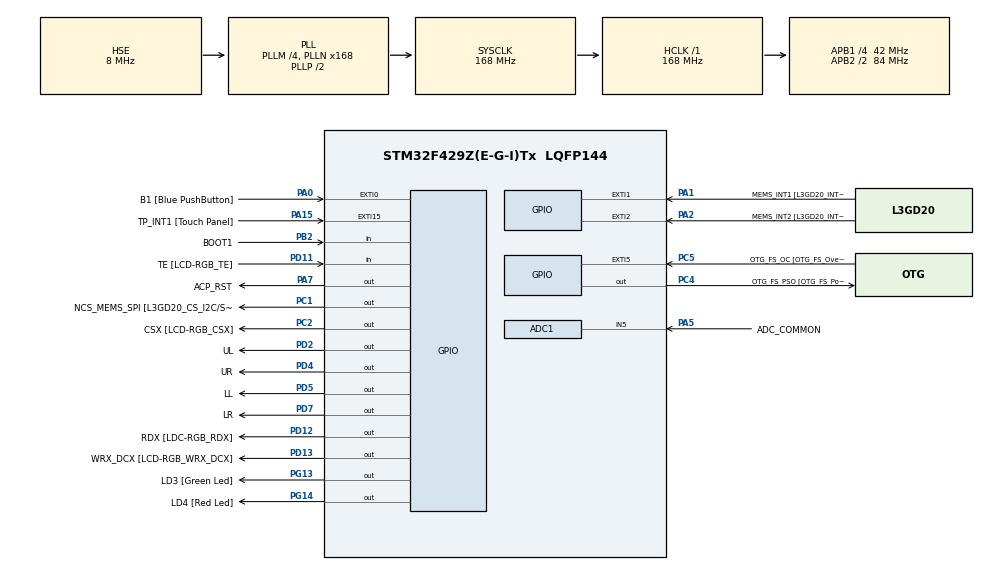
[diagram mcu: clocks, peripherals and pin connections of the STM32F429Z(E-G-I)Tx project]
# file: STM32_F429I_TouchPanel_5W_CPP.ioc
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ADC1.Channel-0\#ChannelRegularConversion=ADC_CHANNEL_5
ADC1.ClockPrescaler=ADC_CLOCK_SYNC_PCLK_DIV8
ADC1.NbrOfConversionFlag=1
ADC1.Rank-0\#ChannelRegularConversion=1
ADC1.SamplingTime-0\#ChannelRegularConversion=ADC_SAMPLETIME_480CYCLES
ADC1.master=1
FREERTOS.BinarySemaphores01=adcSemaphore,Dynamic,NULL
FREERTOS.INCLUDE_xTaskGetCurrentTaskHandle=1
FREERTOS.INCLUDE_xTaskGetHandle=1
FREERTOS.Tasks01=defaultTask,0,128,StartDefaultTask,Default,NULL,Dynamic,NULL,NULL;touchPanelTask,1,128,touchPanelTaskFnc,Default,NULL,Dynamic,NULL,NULL
FREERTOS.configUSE_COUNTING_SEMAPHORES=0
FREERTOS.configUSE_IDLE_HOOK=1
FREERTOS.configUSE_MUTEXES=1
FREERTOS.configUSE_RECURSIVE_MUTEXES=0
FREERTOS.configUSE_TICK_HOOK=1
FREERTOS.configUSE_TIMERS=1
Mcu.Family=STM32F4
Mcu.Name=STM32F429Z(E-G-I)Tx
Mcu.Package=LQFP144
NVIC.ADC_IRQn=true\:7\:0\:true\:false\:true\:true
NVIC.PriorityGroup=NVIC_PRIORITYGROUP_4
NVIC.TIM7_IRQn=true\:0\:0\:false\:false\:true\:false
NVIC.TimeBase=TIM7_IRQn
NVIC.TimeBaseIP=TIM7
PA0/WKUP.GPIO_Label=B1 [Blue PushButton]
PA0/WKUP.GPIO_ModeDefaultEXTI=GPIO_MODE_EVT_RISING
PA0/WKUP.GPIO_PuPd=GPIO_NOPULL
PA0/WKUP.Signal=GPXTI0
PA1.GPIO_Label=MEMS_INT1 [L3GD20_INT1]
PA1.GPIO_ModeDefaultEXTI=GPIO_MODE_EVT_RISING
PA1.GPIO_PuPd=GPIO_NOPULL
PA1.Signal=GPXTI1
PA11.GPIO_Label=R4
PA11.GPIO_Mode=GPIO_MODE_AF_PP
PA11.GPIO_PuPd=GPIO_NOPULL
PA11.GPIO_Speed=GPIO_SPEED_FREQ_LOW
PA11.Signal=LTDC_R4
PA12.GPIO_Label=R5
PA12.GPIO_Mode=GPIO_MODE_AF_PP
PA12.GPIO_PuPd=GPIO_NOPULL
PA12.GPIO_Speed=GPIO_SPEED_FREQ_LOW
PA12.Signal=LTDC_R5
PA13.GPIO_Label=SWDIO
PA13.Signal=SYS_JTMS-SWDIO
PA14.GPIO_Label=SWCLK
PA14.Signal=SYS_JTCK-SWCLK
PA15.GPIO_Label=TP_INT1 [Touch Panel]
PA15.GPIO_ModeDefaultEXTI=GPIO_MODE_EVT_RISING
PA15.GPIO_PuPd=GPIO_NOPULL
PA15.Signal=GPXTI15
PA2.GPIO_Label=MEMS_INT2 [L3GD20_INT2]
PA2.GPIO_ModeDefaultEXTI=GPIO_MODE_EVT_RISING
PA2.GPIO_PuPd=GPIO_NOPULL
PA2.Signal=GPXTI2
PA3.GPIO_Label=B5
PA3.GPIO_Mode=GPIO_MODE_AF_PP
PA3.GPIO_PuPd=GPIO_NOPULL
PA3.GPIO_Speed=GPIO_SPEED_FREQ_LOW
PA3.Signal=LTDC_B5
PA4.GPIO_Label=VSYNC
PA4.GPIO_Mode=GPIO_MODE_AF_PP
PA4.GPIO_PuPd=GPIO_NOPULL
PA4.GPIO_Speed=GPIO_SPEED_FREQ_LOW
PA4.Signal=LTDC_VSYNC
PA5.GPIO_Label=ADC_COMMON
PA5.Signal=ADCx_IN5
PA6.GPIO_Label=G2
PA6.GPIO_Mode=GPIO_MODE_AF_PP
PA6.GPIO_PuPd=GPIO_NOPULL
PA6.GPIO_Speed=GPIO_SPEED_FREQ_LOW
PA6.Signal=LTDC_G2
PA7.GPIO_Label=ACP_RST
PA7.GPIO_Mode=GPIO_MODE_OUTPUT_PP
PA7.GPIO_PuPd=GPIO_NOPULL
PA7.GPIO_Speed=GPIO_SPEED_FREQ_LOW
PA7.Signal=GPIO_Output
PA8.GPIO_Label=I2C3_SCL [ACP/RF_SCL]
PA8.GPIO_Mode=GPIO_MODE_AF_OD
PA8.GPIO_PuPd=GPIO_NOPULL
PA8.GPIO_Speed=GPIO_SPEED_FREQ_LOW
PA8.Signal=I2C3_SCL
PB0.GPIO_Label=R3
PB0.GPIO_Mode=GPIO_MODE_AF_PP
PB0.GPIO_PuPd=GPIO_NOPULL
PB0.GPIO_Speed=GPIO_SPEED_FREQ_LOW
PB0.Signal=LTDC_R3
PB1.GPIO_Label=R6
PB1.GPIO_Mode=GPIO_MODE_AF_PP
PB1.GPIO_PuPd=GPIO_NOPULL
PB1.GPIO_Speed=GPIO_SPEED_FREQ_LOW
PB1.Signal=LTDC_R6
PB10.GPIO_Label=G4
PB10.GPIO_Mode=GPIO_MODE_AF_PP
PB10.GPIO_PuPd=GPIO_NOPULL
PB10.GPIO_Speed=GPIO_SPEED_FREQ_LOW
PB10.Signal=LTDC_G4
PB11.GPIO_Label=G5
PB11.GPIO_Mode=GPIO_MODE_AF_PP
PB11.GPIO_PuPd=GPIO_NOPULL
PB11.GPIO_Speed=GPIO_SPEED_FREQ_LOW
PB11.Signal=LTDC_G5
PB12.GPIO_Label=OTG_FS_ID
PB12.GPIO_Mode=GPIO_MODE_AF_PP
PB12.GPIO_PuPd=GPIO_NOPULL
PB12.GPIO_Speed=GPIO_SPEED_FREQ_LOW
PB12.Signal=USB_OTG_HS_ID
PB13.GPIO_Label=VBUS_FS
PB13.GPIO_Mode=GPIO_MODE_INPUT
PB13.GPIO_PuPd=GPIO_NOPULL
PB13.Signal=USB_OTG_HS_VBUS
PB14.GPIO_Label=OTG_FS_DM
PB14.GPIO_Mode=GPIO_MODE_AF_PP
PB14.GPIO_PuPd=GPIO_NOPULL
PB14.GPIO_Speed=GPIO_SPEED_FREQ_LOW
PB14.Signal=USB_OTG_HS_DM
PB15.GPIO_Label=OTG_FS_DP
PB15.GPIO_Mode=GPIO_MODE_AF_PP
PB15.GPIO_PuPd=GPIO_NOPULL
PB15.GPIO_Speed=GPIO_SPEED_FREQ_LOW
PB15.Signal=USB_OTG_HS_DP
PB2/BOOT1.GPIO_Label=BOOT1
PB2/BOOT1.GPIO_Mode=GPIO_MODE_INPUT
PB2/BOOT1.GPIO_PuPd=GPIO_NOPULL
PB2/BOOT1.Signal=GPIO_Input
PB5.GPIO_Label=SDCKE1
PB5.GPIO_Mode=GPIO_MODE_AF_PP
PB5.GPIO_PuPd=GPIO_NOPULL
PB5.GPIO_Speed=GPIO_SPEED_FREQ_VERY_HIGH
PB5.Signal=FMC_SDCKE1
PB6.GPIO_Label=SDNE1 [SDRAM_CS]
PB6.GPIO_Mode=GPIO_MODE_AF_PP
PB6.GPIO_PuPd=GPIO_NOPULL
PB6.GPIO_Speed=GPIO_SPEED_FREQ_VERY_HIGH
PB6.Signal=FMC_SDNE1
PB8.GPIO_Label=B6
PB8.GPIO_Mode=GPIO_MODE_AF_PP
PB8.GPIO_PuPd=GPIO_NOPULL
PB8.GPIO_Speed=GPIO_SPEED_FREQ_LOW
PB8.Signal=LTDC_B6
PB9.GPIO_Label=B7
PB9.GPIO_Mode=GPIO_MODE_AF_PP
PB9.GPIO_PuPd=GPIO_NOPULL
PB9.GPIO_Speed=GPIO_SPEED_FREQ_LOW
PB9.Signal=LTDC_B7
PC0.GPIO_Label=SDNWE
PC0.GPIO_Mode=GPIO_MODE_AF_PP
PC0.GPIO_PuPd=GPIO_NOPULL
PC0.GPIO_Speed=GPIO_SPEED_FREQ_VERY_HIGH
PC0.Signal=FMC_SDNWE
PC1.GPIO_Label=NCS_MEMS_SPI [L3GD20_CS_I2C/SPI]
PC1.GPIO_Mode=GPIO_MODE_OUTPUT_PP
PC1.GPIO_PuPd=GPIO_NOPULL
PC1.GPIO_Speed=GPIO_SPEED_FREQ_LOW
PC1.Signal=GPIO_Output
PC10.GPIO_Label=R2
PC10.GPIO_Mode=GPIO_MODE_AF_PP
PC10.GPIO_PuPd=GPIO_NOPULL
PC10.GPIO_Speed=GPIO_SPEED_FREQ_LOW
PC10.Signal=LTDC_R2
PC14/OSC32_IN.GPIO_Label=PC14-OSC32_IN
PC14/OSC32_IN.Signal=RCC_OSC32_IN
PC15/OSC32_OUT.GPIO_Label=PC15-OSC32_OUT
PC15/OSC32_OUT.Signal=RCC_OSC32_OUT
PC2.GPIO_Label=CSX [LCD-RGB_CSX]
PC2.GPIO_Mode=GPIO_MODE_OUTPUT_PP
PC2.GPIO_PuPd=GPIO_NOPULL
PC2.GPIO_Speed=GPIO_SPEED_FREQ_LOW
PC2.Signal=GPIO_Output
PC4.GPIO_Label=OTG_FS_PSO [OTG_FS_PowerSwitchOn]
PC4.GPIO_Mode=GPIO_MODE_OUTPUT_PP
PC4.GPIO_PuPd=GPIO_NOPULL
PC4.GPIO_Speed=GPIO_SPEED_FREQ_LOW
PC4.Signal=GPIO_Output
PC5.GPIO_Label=OTG_FS_OC [OTG_FS_OverCurrent]
PC5.GPIO_ModeDefaultEXTI=GPIO_MODE_EVT_RISING
PC5.Signal=GPXTI5
PC6.GPIO_Label=HSYNC
PC6.GPIO_Mode=GPIO_MODE_AF_PP
PC6.GPIO_PuPd=GPIO_NOPULL
PC6.GPIO_Speed=GPIO_SPEED_FREQ_LOW
PC6.Signal=LTDC_HSYNC
PC7.GPIO_Label=G6
PC7.GPIO_Mode=GPIO_MODE_AF_PP
PC7.GPIO_PuPd=GPIO_NOPULL
PC7.GPIO_Speed=GPIO_SPEED_FREQ_LOW
PC7.Signal=LTDC_G6
PC9.GPIO_Label=I2C3_SDA [ACP/RF_SDA]
PC9.GPIO_Mode=GPIO_MODE_AF_OD
PC9.GPIO_PuPd=GPIO_NOPULL
PC9.GPIO_Speed=GPIO_SPEED_FREQ_LOW
PC9.Signal=I2C3_SDA
PD0.GPIO_Label=D2
PD0.GPIO_Mode=GPIO_MODE_AF_PP
PD0.GPIO_PuPd=GPIO_NOPULL
PD0.GPIO_Speed=GPIO_SPEED_FREQ_VERY_HIGH
PD0.Signal=FMC_D2_DA2
PD1.GPIO_Label=D3
PD1.GPIO_Mode=GPIO_MODE_AF_PP
PD1.GPIO_PuPd=GPIO_NOPULL
PD1.GPIO_Speed=GPIO_SPEED_FREQ_VERY_HIGH
PD1.Signal=FMC_D3_DA3
PD10.GPIO_Label=D15
PD10.GPIO_Mode=GPIO_MODE_AF_PP
PD10.GPIO_PuPd=GPIO_NOPULL
PD10.GPIO_Speed=GPIO_SPEED_FREQ_VERY_HIGH
PD10.Signal=FMC_D15_DA15
PD11.GPIO_Label=TE [LCD-RGB_TE]
PD11.GPIO_Mode=GPIO_MODE_INPUT
PD11.GPIO_PuPd=GPIO_NOPULL
PD11.Signal=GPIO_Input
PD12.GPIO_Label=RDX [LDC-RGB_RDX]
PD12.GPIO_Mode=GPIO_MODE_OUTPUT_PP
PD12.GPIO_PuPd=GPIO_NOPULL
PD12.GPIO_Speed=GPIO_SPEED_FREQ_LOW
PD12.Signal=GPIO_Output
PD13.GPIO_Label=WRX_DCX [LCD-RGB_WRX_DCX]
PD13.GPIO_Mode=GPIO_MODE_OUTPUT_PP
PD13.GPIO_PuPd=GPIO_NOPULL
PD13.GPIO_Speed=GPIO_SPEED_FREQ_LOW
PD13.Signal=GPIO_Output
PD14.GPIO_Label=D0
PD14.GPIO_Mode=GPIO_MODE_AF_PP
PD14.GPIO_PuPd=GPIO_NOPULL
PD14.GPIO_Speed=GPIO_SPEED_FREQ_VERY_HIGH
PD14.Signal=FMC_D0_DA0
PD15.GPIO_Label=D1
PD15.GPIO_Mode=GPIO_MODE_AF_PP
PD15.GPIO_PuPd=GPIO_NOPULL
PD15.GPIO_Speed=GPIO_SPEED_FREQ_VERY_HIGH
PD15.Signal=FMC_D1_DA1
PD2.GPIO_Label=UL
PD2.GPIO_Speed=GPIO_SPEED_FREQ_VERY_HIGH
PD2.Signal=GPIO_Output
PD3.GPIO_Label=G7
PD3.GPIO_Mode=GPIO_MODE_AF_PP
PD3.GPIO_PuPd=GPIO_NOPULL
PD3.GPIO_Speed=GPIO_SPEED_FREQ_LOW
PD3.Signal=LTDC_G7
PD4.GPIO_Label=UR
PD4.GPIO_Speed=GPIO_SPEED_FREQ_VERY_HIGH
PD4.Signal=GPIO_Output
PD5.GPIO_Label=LL
PD5.GPIO_Speed=GPIO_SPEED_FREQ_VERY_HIGH
PD5.Signal=GPIO_Output
PD6.GPIO_Label=B2
PD6.GPIO_Mode=GPIO_MODE_AF_PP
PD6.GPIO_PuPd=GPIO_NOPULL
PD6.GPIO_Speed=GPIO_SPEED_FREQ_LOW
PD6.Signal=LTDC_B2
PD7.GPIO_Label=LR
PD7.GPIO_Speed=GPIO_SPEED_FREQ_VERY_HIGH
PD7.Signal=GPIO_Output
PD8.GPIO_Label=D13
PD8.GPIO_Mode=GPIO_MODE_AF_PP
PD8.GPIO_PuPd=GPIO_NOPULL
PD8.GPIO_Speed=GPIO_SPEED_FREQ_VERY_HIGH
PD8.Signal=FMC_D13_DA13
PD9.GPIO_Label=D14
PD9.GPIO_Mode=GPIO_MODE_AF_PP
PD9.GPIO_PuPd=GPIO_NOPULL
PD9.GPIO_Speed=GPIO_SPEED_FREQ_VERY_HIGH
PD9.Signal=FMC_D14_DA14
PE0.GPIO_Label=NBL0 [SDRAM_LDQM]
PE0.GPIO_Mode=GPIO_MODE_AF_PP
PE0.GPIO_PuPd=GPIO_NOPULL
PE0.GPIO_Speed=GPIO_SPEED_FREQ_VERY_HIGH
PE0.Signal=FMC_NBL0
PE1.GPIO_Label=NBL1 [SDRAM_UDQM]
PE1.GPIO_Mode=GPIO_MODE_AF_PP
PE1.GPIO_PuPd=GPIO_NOPULL
PE1.GPIO_Speed=GPIO_SPEED_FREQ_VERY_HIGH
PE1.Signal=FMC_NBL1
PE10.GPIO_Label=D7
PE10.GPIO_Mode=GPIO_MODE_AF_PP
PE10.GPIO_PuPd=GPIO_NOPULL
PE10.GPIO_Speed=GPIO_SPEED_FREQ_VERY_HIGH
PE10.Signal=FMC_D7_DA7
PE11.GPIO_Label=D8
PE11.GPIO_Mode=GPIO_MODE_AF_PP
PE11.GPIO_PuPd=GPIO_NOPULL
PE11.GPIO_Speed=GPIO_SPEED_FREQ_VERY_HIGH
PE11.Signal=FMC_D8_DA8
PE12.GPIO_Label=D9
PE12.GPIO_Mode=GPIO_MODE_AF_PP
PE12.GPIO_PuPd=GPIO_NOPULL
PE12.GPIO_Speed=GPIO_SPEED_FREQ_VERY_HIGH
PE12.Signal=FMC_D9_DA9
PE13.GPIO_Label=D10
PE13.GPIO_Mode=GPIO_MODE_AF_PP
PE13.GPIO_PuPd=GPIO_NOPULL
PE13.GPIO_Speed=GPIO_SPEED_FREQ_VERY_HIGH
PE13.Signal=FMC_D10_DA10
PE14.GPIO_Label=D11
PE14.GPIO_Mode=GPIO_MODE_AF_PP
PE14.GPIO_PuPd=GPIO_NOPULL
PE14.GPIO_Speed=GPIO_SPEED_FREQ_VERY_HIGH
PE14.Signal=FMC_D11_DA11
PE15.GPIO_Label=D12
PE15.GPIO_Mode=GPIO_MODE_AF_PP
PE15.GPIO_PuPd=GPIO_NOPULL
PE15.GPIO_Speed=GPIO_SPEED_FREQ_VERY_HIGH
PE15.Signal=FMC_D12_DA12
PE7.GPIO_Label=D4
PE7.GPIO_Mode=GPIO_MODE_AF_PP
PE7.GPIO_PuPd=GPIO_NOPULL
PE7.GPIO_Speed=GPIO_SPEED_FREQ_VERY_HIGH
PE7.Signal=FMC_D4_DA4
PE8.GPIO_Label=D5
PE8.GPIO_Mode=GPIO_MODE_AF_PP
PE8.GPIO_PuPd=GPIO_NOPULL
PE8.GPIO_Speed=GPIO_SPEED_FREQ_VERY_HIGH
PE8.Signal=FMC_D5_DA5
PE9.GPIO_Label=D6
PE9.GPIO_Mode=GPIO_MODE_AF_PP
PE9.GPIO_PuPd=GPIO_NOPULL
PE9.GPIO_Speed=GPIO_SPEED_FREQ_VERY_HIGH
PE9.Signal=FMC_D6_DA6
PF0.GPIO_Label=A0
PF0.GPIO_Mode=GPIO_MODE_AF_PP
PF0.GPIO_PuPd=GPIO_NOPULL
PF0.GPIO_Speed=GPIO_SPEED_FREQ_VERY_HIGH
PF0.Signal=FMC_A0
PF1.GPIO_Label=A1
PF1.GPIO_Mode=GPIO_MODE_AF_PP
PF1.GPIO_PuPd=GPIO_NOPULL
PF1.GPIO_Speed=GPIO_SPEED_FREQ_VERY_HIGH
PF1.Signal=FMC_A1
PF10.GPIO_Label=ENABLE [LCD-RGB_ENABLE]
PF10.GPIO_Mode=GPIO_MODE_AF_PP
PF10.GPIO_PuPd=GPIO_NOPULL
PF10.GPIO_Speed=GPIO_SPEED_FREQ_LOW
PF10.Signal=LTDC_DE
PF11.GPIO_Label=SDNRAS
PF11.GPIO_Mode=GPIO_MODE_AF_PP
PF11.GPIO_PuPd=GPIO_NOPULL
PF11.GPIO_Speed=GPIO_SPEED_FREQ_VERY_HIGH
PF11.Signal=FMC_SDNRAS
PF12.GPIO_Label=A6
PF12.GPIO_Mode=GPIO_MODE_AF_PP
PF12.GPIO_PuPd=GPIO_NOPULL
PF12.GPIO_Speed=GPIO_SPEED_FREQ_VERY_HIGH
PF12.Signal=FMC_A6
PF13.GPIO_Label=A7
PF13.GPIO_Mode=GPIO_MODE_AF_PP
PF13.GPIO_PuPd=GPIO_NOPULL
PF13.GPIO_Speed=GPIO_SPEED_FREQ_VERY_HIGH
PF13.Signal=FMC_A7
PF14.GPIO_Label=A8
PF14.GPIO_Mode=GPIO_MODE_AF_PP
PF14.GPIO_PuPd=GPIO_NOPULL
PF14.GPIO_Speed=GPIO_SPEED_FREQ_VERY_HIGH
PF14.Signal=FMC_A8
PF15.GPIO_Label=A9
PF15.GPIO_Mode=GPIO_MODE_AF_PP
PF15.GPIO_PuPd=GPIO_NOPULL
PF15.GPIO_Speed=GPIO_SPEED_FREQ_VERY_HIGH
PF15.Signal=FMC_A9
PF2.GPIO_Label=A2
PF2.GPIO_Mode=GPIO_MODE_AF_PP
PF2.GPIO_PuPd=GPIO_NOPULL
PF2.GPIO_Speed=GPIO_SPEED_FREQ_VERY_HIGH
PF2.Signal=FMC_A2
PF3.GPIO_Label=A3
PF3.GPIO_Mode=GPIO_MODE_AF_PP
PF3.GPIO_PuPd=GPIO_NOPULL
PF3.GPIO_Speed=GPIO_SPEED_FREQ_VERY_HIGH
PF3.Signal=FMC_A3
PF4.GPIO_Label=A4
PF4.GPIO_Mode=GPIO_MODE_AF_PP
PF4.GPIO_PuPd=GPIO_NOPULL
PF4.GPIO_Speed=GPIO_SPEED_FREQ_VERY_HIGH
PF4.Signal=FMC_A4
PF5.GPIO_Label=A5
PF5.GPIO_Mode=GPIO_MODE_AF_PP
PF5.GPIO_PuPd=GPIO_NOPULL
PF5.GPIO_Speed=GPIO_SPEED_FREQ_VERY_HIGH
PF5.Signal=FMC_A5
PF7.GPIO_Label=SPI5_SCK [L3GD20_SCL/SPC]
PF7.GPIO_Mode=GPIO_MODE_AF_PP
PF7.GPIO_PuPd=GPIO_NOPULL
PF7.GPIO_Speed=GPIO_SPEED_FREQ_LOW
PF7.Signal=SPI5_SCK
PF8.GPIO_Label=SPI5_MISO [L3GD20_SDO]
PF8.GPIO_Mode=GPIO_MODE_AF_PP
PF8.GPIO_PuPd=GPIO_NOPULL
PF8.GPIO_Speed=GPIO_SPEED_FREQ_LOW
PF8.Signal=SPI5_MISO
PF9.GPIO_Label=SPI5_MOSI [L3GD20_SDA/SDI/SDO]
PF9.GPIO_Mode=GPIO_MODE_AF_PP
PF9.GPIO_PuPd=GPIO_NOPULL
PF9.GPIO_Speed=GPIO_SPEED_FREQ_LOW
PF9.Signal=SPI5_MOSI
PG0.GPIO_Label=A10
PG0.GPIO_Mode=GPIO_MODE_AF_PP
PG0.GPIO_PuPd=GPIO_NOPULL
PG0.GPIO_Speed=GPIO_SPEED_FREQ_VERY_HIGH
PG0.Signal=FMC_A10
PG1.GPIO_Label=A11
PG1.GPIO_Mode=GPIO_MODE_AF_PP
PG1.GPIO_PuPd=GPIO_NOPULL
PG1.GPIO_Speed=GPIO_SPEED_FREQ_VERY_HIGH
PG1.Signal=FMC_A11
PG10.GPIO_Label=G3
PG10.GPIO_Mode=GPIO_MODE_AF_PP
PG10.GPIO_PuPd=GPIO_NOPULL
PG10.GPIO_Speed=GPIO_SPEED_FREQ_LOW
PG10.Signal=LTDC_G3
PG11.GPIO_Label=B3
PG11.GPIO_Mode=GPIO_MODE_AF_PP
PG11.GPIO_PuPd=GPIO_NOPULL
PG11.GPIO_Speed=GPIO_SPEED_FREQ_LOW
PG11.Signal=LTDC_B3
PG12.GPIO_Label=B4
PG12.GPIO_Mode=GPIO_MODE_AF_PP
PG12.GPIO_PuPd=GPIO_NOPULL
PG12.GPIO_Speed=GPIO_SPEED_FREQ_LOW
PG12.Signal=LTDC_B4
PG13.GPIO_Label=LD3 [Green Led]
PG13.GPIO_Mode=GPIO_MODE_OUTPUT_PP
PG13.GPIO_PuPd=GPIO_NOPULL
PG13.GPIO_Speed=GPIO_SPEED_FREQ_LOW
PG13.Signal=GPIO_Output
PG14.GPIO_Label=LD4 [Red Led]
PG14.GPIO_Mode=GPIO_MODE_OUTPUT_PP
PG14.GPIO_PuPd=GPIO_NOPULL
PG14.GPIO_Speed=GPIO_SPEED_FREQ_LOW
PG14.Signal=GPIO_Output
PG15.GPIO_Label=SDNCAS
PG15.GPIO_Mode=GPIO_MODE_AF_PP
PG15.GPIO_PuPd=GPIO_NOPULL
PG15.GPIO_Speed=GPIO_SPEED_FREQ_VERY_HIGH
PG15.Signal=FMC_SDNCAS
PG4.GPIO_Label=BA0
PG4.GPIO_Mode=GPIO_MODE_AF_PP
PG4.GPIO_PuPd=GPIO_NOPULL
PG4.GPIO_Speed=GPIO_SPEED_FREQ_VERY_HIGH
PG4.Signal=FMC_A14_BA0
PG5.GPIO_Label=BA1
PG5.GPIO_Mode=GPIO_MODE_AF_PP
PG5.GPIO_PuPd=GPIO_NOPULL
PG5.GPIO_Speed=GPIO_SPEED_FREQ_VERY_HIGH
PG5.Signal=FMC_A15_BA1
PG6.GPIO_Label=R7
PG6.GPIO_Mode=GPIO_MODE_AF_PP
PG6.GPIO_PuPd=GPIO_NOPULL
PG6.GPIO_Speed=GPIO_SPEED_FREQ_LOW
PG6.Signal=LTDC_R7
PG7.GPIO_Label=DOTCLK [LCT-RGB_DOTCLK]
PG7.GPIO_Mode=GPIO_MODE_AF_PP
PG7.GPIO_PuPd=GPIO_NOPULL
PG7.GPIO_Speed=GPIO_SPEED_FREQ_LOW
PG7.Signal=LTDC_CLK
PG8.GPIO_Label=SDCLK
PG8.GPIO_Mode=GPIO_MODE_AF_PP
PG8.GPIO_PuPd=GPIO_NOPULL
PG8.GPIO_Speed=GPIO_SPEED_FREQ_VERY_HIGH
PG8.Signal=FMC_SDCLK
PH0/OSC_IN.GPIO_Label=PH0-OSC_IN
PH0/OSC_IN.Mode=HSE-External-Oscillator
PH0/OSC_IN.Signal=RCC_OSC_IN
PH1/OSC_OUT.GPIO_Label=PH1-OSC_OUT
PH1/OSC_OUT.Mode=HSE-External-Oscillator
PH1/OSC_OUT.Signal=RCC_OSC_OUT
ProjectManager.HeapSize=0x200
ProjectManager.StackSize=0x400
ProjectManager.TargetToolchain=SW4STM32
RCC.48MHZClocksFreq_Value=48000000
RCC.AHBFreq_Value=168000000
RCC.APB1CLKDivider=RCC_HCLK_DIV4
RCC.APB1Freq_Value=42000000
RCC.APB1TimFreq_Value=84000000
RCC.APB2CLKDivider=RCC_HCLK_DIV2
RCC.APB2Freq_Value=84000000
RCC.APB2TimFreq_Value=168000000
RCC.CortexFreq_Value=168000000
RCC.HCLKFreq_Value=168000000
RCC.HSE_VALUE=8000000
RCC.HSI_VALUE=16000000
RCC.LSE_VALUE=32768
RCC.PLLM=4
RCC.PLLN=168
RCC.PLLQ=7
RCC.PLLSourceVirtual=RCC_PLLSOURCE_HSE
RCC.SYSCLKFreq_VALUE=168000000
RCC.SYSCLKSource=RCC_SYSCLKSOURCE_PLLCLK
RCC.VCOOutputFreq_Value=336000000
SH.ADCx_IN5.0=ADC1_IN5,IN5
SH.FMC_A0.0=FMC_A0
SH.FMC_A1.0=FMC_A1
SH.FMC_A10.0=FMC_A10
SH.FMC_A11.0=FMC_A11
SH.FMC_A14_BA0.0=FMC_BA0
SH.FMC_A15_BA1.0=FMC_BA1
SH.FMC_A2.0=FMC_A2
SH.FMC_A3.0=FMC_A3
SH.FMC_A4.0=FMC_A4
SH.FMC_A5.0=FMC_A5
SH.FMC_A6.0=FMC_A6
SH.FMC_A7.0=FMC_A7
SH.FMC_A8.0=FMC_A8
SH.FMC_A9.0=FMC_A9
SH.FMC_D0_DA0.0=FMC_D0
SH.FMC_D10_DA10.0=FMC_D10
SH.FMC_D11_DA11.0=FMC_D11
SH.FMC_D12_DA12.0=FMC_D12
SH.FMC_D13_DA13.0=FMC_D13
SH.FMC_D14_DA14.0=FMC_D14
SH.FMC_D15_DA15.0=FMC_D15
SH.FMC_D1_DA1.0=FMC_D1
SH.FMC_D2_DA2.0=FMC_D2
SH.FMC_D3_DA3.0=FMC_D3
SH.FMC_D4_DA4.0=FMC_D4
SH.FMC_D5_DA5.0=FMC_D5
SH.FMC_D6_DA6.0=FMC_D6
SH.FMC_D7_DA7.0=FMC_D7
SH.FMC_D8_DA8.0=FMC_D8
SH.FMC_D9_DA9.0=FMC_D9
SH.FMC_NBL0.0=FMC_NBL0
SH.FMC_NBL1.0=FMC_NBL1
SH.FMC_SDCLK.0=FMC_SDCLK
SH.FMC_SDNCAS.0=FMC_SDNCAS
SH.FMC_SDNRAS.0=FMC_SDNRAS
SH.FMC_SDNWE.0=FMC_SDNWE
VP_FREERTOS_VS_ENABLE.Mode=Enabled
VP_SYS_VS_tim7.Mode=TIM7
board=STM32F429I-DISCO

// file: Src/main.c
/**
  ******************************************************************************
  * File Name          : main.c
  * Description        : Main program body
  ******************************************************************************
  * This notice applies to any and all portions of this file
  * that are not between comment pairs USER CODE BEGIN and
  * USER CODE END. Other portions of this file, whether
  * inserted by the user or by software development tools
  * are owned by their respective copyright owners.
  *
  * Copyright (c) 2017 STMicroelectronics International N.V.
  * All rights reserved.
  *
  * Redistribution and use in source and binary forms, with or without
  * modification, are permitted, provided that the following conditions are met:
  *
  * 1. Redistribution of source code must retain the above copyright notice,
  *    this list of conditions and the following disclaimer.
  * 2. Redistributions in binary form must reproduce the above copyright notice,
  *    this list of conditions and the following disclaimer in the documentation
  *    and/or other materials provided with the distribution.
  * 3. Neither the name of STMicroelectronics nor the names of other
  *    contributors to this software may be used to endorse or promote products
  *    derived from this software without specific written permission.
  * 4. This software, including modifications and/or derivative works of this
  *    software, must execute solely and exclusively on microcontroller or
  *    microprocessor devices manufactured by or for STMicroelectronics.
  * 5. Redistribution and use of this software other than as permitted under
  *    this license is void and will automatically terminate your rights under
  *    this license.
  *
  * THIS SOFTWARE IS PROVIDED BY STMICROELECTRONICS AND CONTRIBUTORS "AS IS"
  * AND ANY EXPRESS, IMPLIED OR STATUTORY WARRANTIES, INCLUDING, BUT NOT
  * LIMITED TO, THE IMPLIED WARRANTIES OF MERCHANTABILITY, FITNESS FOR A
  * PARTICULAR PURPOSE AND NON-INFRINGEMENT OF THIRD PARTY INTELLECTUAL PROPERTY
  * RIGHTS ARE DISCLAIMED TO THE FULLEST EXTENT PERMITTED BY LAW. IN NO EVENT
  * SHALL STMICROELECTRONICS OR CONTRIBUTORS BE LIABLE FOR ANY DIRECT, INDIRECT,
  * INCIDENTAL, SPECIAL, EXEMPLARY, OR CONSEQUENTIAL DAMAGES (INCLUDING, BUT NOT
  * LIMITED TO, PROCUREMENT OF SUBSTITUTE GOODS OR SERVICES; LOSS OF USE, DATA,
  * OR PROFITS; OR BUSINESS INTERRUPTION) HOWEVER CAUSED AND ON ANY THEORY OF
  * LIABILITY, WHETHER IN CONTRACT, STRICT LIABILITY, OR TORT (INCLUDING
  * NEGLIGENCE OR OTHERWISE) ARISING IN ANY WAY OUT OF THE USE OF THIS SOFTWARE,
  * EVEN IF ADVISED OF THE POSSIBILITY OF SUCH DAMAGE.
  *
  ******************************************************************************
  */
#include "main.h"
#include "stm32f4xx_hal.h"
#include "cmsis_os.h"
#include "adc.h"
#include "gpio.h"

/* USER CODE BEGIN Includes */

#ifdef __cplusplus
}
#endif

#include "TouchPanel/TouchPanel.hpp"

/* USER CODE END Includes */

/* USER CODE BEGIN PV */
/* Private variables ---------------------------------------------------------*/

extern TouchPanel Panel;
uint32_t adc;
volatile bool Lock = true;
volatile bool isTouch;
uint32_t X,Y;
/* USER CODE END PV */

void SystemClock_Config(void);
void MX_FREERTOS_Init(void);

/* USER CODE BEGIN PFP */
/* Private function prototypes -----------------------------------------------*/
//void Process(volatile uint32_t &x, volatile uint32_t &y);
//void LockWait(volatile bool &lock);
//void LockRelease(volatile bool &lock);
//uint32_t Measure();
/* USER CODE END PFP */

int main(void)
{

  /* MCU Configuration----------------------------------------------------------*/

  /* Reset of all peripherals, Initializes the Flash interface and the Systick. */
  HAL_Init();

  /* Configure the system clock */
  SystemClock_Config();

  /* Initialize all configured peripherals */
  MX_GPIO_Init();
  MX_ADC1_Init();

  /* Call init function for freertos objects (in freertos.c) */
  MX_FREERTOS_Init();

  /* Start scheduler */
  osKernelStart();

  /* We should never get here as control is now taken by the scheduler */

  /* Infinite loop */
  /* USER CODE BEGIN WHILE */
  while (1)
  {
//	  Process(X,Y);
//	  GPIO_PinState ps;
//	  if(isTouch){
//		  ps = GPIO_PIN_SET;
//	  }else{
//		  ps = GPIO_PIN_RESET;
//	  }
//
//	  HAL_GPIO_WritePin(LD3_GPIO_Port,LD3_Pin,ps);
//	  HAL_Delay(50);
  /* USER CODE END WHILE */

  }

}

/** System Clock Configuration
*/
void SystemClock_Config(void)
{

  RCC_OscInitTypeDef RCC_OscInitStruct;
  RCC_ClkInitTypeDef RCC_ClkInitStruct;

    /**Configure the main internal regulator output voltage
    */
  __HAL_RCC_PWR_CLK_ENABLE();

  __HAL_PWR_VOLTAGESCALING_CONFIG(PWR_REGULATOR_VOLTAGE_SCALE1);

    /**Initializes the CPU, AHB and APB busses clocks
    */
  RCC_OscInitStruct.OscillatorType = RCC_OSCILLATORTYPE_HSE;
  RCC_OscInitStruct.HSEState = RCC_HSE_ON;
  RCC_OscInitStruct.PLL.PLLState = RCC_PLL_ON;
  RCC_OscInitStruct.PLL.PLLSource = RCC_PLLSOURCE_HSE;
  RCC_OscInitStruct.PLL.PLLM = 4;
  RCC_OscInitStruct.PLL.PLLN = 168;
  RCC_OscInitStruct.PLL.PLLP = RCC_PLLP_DIV2;
  RCC_OscInitStruct.PLL.PLLQ = 7;
  if (HAL_RCC_OscConfig(&RCC_OscInitStruct) != HAL_OK)
  {
    _Error_Handler(__FILE__, __LINE__);
  }

    /**Initializes the CPU, AHB and APB busses clocks
    */
  RCC_ClkInitStruct.ClockType = RCC_CLOCKTYPE_HCLK|RCC_CLOCKTYPE_SYSCLK
                              |RCC_CLOCKTYPE_PCLK1|RCC_CLOCKTYPE_PCLK2;
  RCC_ClkInitStruct.SYSCLKSource = RCC_SYSCLKSOURCE_PLLCLK;
  RCC_ClkInitStruct.AHBCLKDivider = RCC_SYSCLK_DIV1;
  RCC_ClkInitStruct.APB1CLKDivider = RCC_HCLK_DIV4;
  RCC_ClkInitStruct.APB2CLKDivider = RCC_HCLK_DIV2;

  if (HAL_RCC_ClockConfig(&RCC_ClkInitStruct, FLASH_LATENCY_5) != HAL_OK)
  {
    _Error_Handler(__FILE__, __LINE__);
  }

    /**Configure the Systick interrupt time
    */
  HAL_SYSTICK_Config(HAL_RCC_GetHCLKFreq()/1000);

    /**Configure the Systick
    */
  HAL_SYSTICK_CLKSourceConfig(SYSTICK_CLKSOURCE_HCLK);

  /* SysTick_IRQn interrupt configuration */
  HAL_NVIC_SetPriority(SysTick_IRQn, 15, 0);
}

/* USER CODE BEGIN 4 */
void HAL_ADC_ConvCpltCallback (ADC_HandleTypeDef * hadc){

	if(hadc->Instance == Panel.GetADCInstance()){
		extern osSemaphoreId adcSemaphoreHandle;
		osSemaphoreRelease(adcSemaphoreHandle);
		adc = HAL_ADC_GetValue(hadc);
	}

}

//void Process(volatile uint32_t &x, volatile uint32_t &y){
//	uint32_t value;
//
//	Panel.SetHighPolar();
//
//	value = Measure();
//
//	isTouch = (value>Panel.Treshold);
//
//	if(!isTouch) return;
//
//	Panel.SetXPolar();
//	x = Measure();
//
//	Panel.SetYPolar();
//	y = Measure();
//
//}
//
//
//
//void LockWait(volatile bool &lock){
//	while(lock) ; // Czekaj na œci¹gniecie zamka
//	lock = true;	// gdy ssiagnieto ustaw ponownie
//}
//
//void LockRelease(volatile bool &lock){
//	lock = false; // sciagnij zamek
//}
//
//uint32_t Measure(){
//	Panel.Measure();
//	LockWait(Lock);
//	return Panel.GetADCValue();
//}
/* USER CODE END 4 */

void HAL_TIM_PeriodElapsedCallback(TIM_HandleTypeDef *htim)
{
  if (htim->Instance == TIM7) {
    HAL_IncTick();
  }
}

void _Error_Handler(char * file, int line)
{
  while(1)
  {
  }
}

/************************ (C) COPYRIGHT STMicroelectronics *****END OF FILE****/

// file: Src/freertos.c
/**
  ******************************************************************************
  * File Name          : freertos.c
  * Description        : Code for freertos applications
  ******************************************************************************
  * This notice applies to any and all portions of this file
  * that are not between comment pairs USER CODE BEGIN and
  * USER CODE END. Other portions of this file, whether
  * inserted by the user or by software development tools
  * are owned by their respective copyright owners.
  *
  * Copyright (c) 2017 STMicroelectronics International N.V.
  * All rights reserved.
  *
  * Redistribution and use in source and binary forms, with or without
  * modification, are permitted, provided that the following conditions are met:
  *
  * 1. Redistribution of source code must retain the above copyright notice,
  *    this list of conditions and the following disclaimer.
  * 2. Redistributions in binary form must reproduce the above copyright notice,
  *    this list of conditions and the following disclaimer in the documentation
  *    and/or other materials provided with the distribution.
  * 3. Neither the name of STMicroelectronics nor the names of other
  *    contributors to this software may be used to endorse or promote products
  *    derived from this software without specific written permission.
  * 4. This software, including modifications and/or derivative works of this
  *    software, must execute solely and exclusively on microcontroller or
  *    microprocessor devices manufactured by or for STMicroelectronics.
  * 5. Redistribution and use of this software other than as permitted under
  *    this license is void and will automatically terminate your rights under
  *    this license.
  *
  * THIS SOFTWARE IS PROVIDED BY STMICROELECTRONICS AND CONTRIBUTORS "AS IS"
  * AND ANY EXPRESS, IMPLIED OR STATUTORY WARRANTIES, INCLUDING, BUT NOT
  * LIMITED TO, THE IMPLIED WARRANTIES OF MERCHANTABILITY, FITNESS FOR A
  * PARTICULAR PURPOSE AND NON-INFRINGEMENT OF THIRD PARTY INTELLECTUAL PROPERTY
  * RIGHTS ARE DISCLAIMED TO THE FULLEST EXTENT PERMITTED BY LAW. IN NO EVENT
  * SHALL STMICROELECTRONICS OR CONTRIBUTORS BE LIABLE FOR ANY DIRECT, INDIRECT,
  * INCIDENTAL, SPECIAL, EXEMPLARY, OR CONSEQUENTIAL DAMAGES (INCLUDING, BUT NOT
  * LIMITED TO, PROCUREMENT OF SUBSTITUTE GOODS OR SERVICES; LOSS OF USE, DATA,
  * OR PROFITS; OR BUSINESS INTERRUPTION) HOWEVER CAUSED AND ON ANY THEORY OF
  * LIABILITY, WHETHER IN CONTRACT, STRICT LIABILITY, OR TORT (INCLUDING
  * NEGLIGENCE OR OTHERWISE) ARISING IN ANY WAY OUT OF THE USE OF THIS SOFTWARE,
  * EVEN IF ADVISED OF THE POSSIBILITY OF SUCH DAMAGE.
  *
  ******************************************************************************
  */

#include "FreeRTOS.h"
#include "task.h"
#include "cmsis_os.h"

/* USER CODE BEGIN Includes */
#include "main.h"
#include "CPU/cpu_utils.h"
#include "stm32f4xx_hal.h"
#include "adc.h"
#include "gpio.h"

#include "TouchPanel/TouchPanel.hpp"

/* USER CODE END Includes */

osThreadId defaultTaskHandle;
osThreadId touchPanelTaskHandle;
osSemaphoreId adcSemaphoreHandle;

/* USER CODE BEGIN Variables */
float a;
float X,Y;
uint32_t adc;
uint16_t cpu;
TouchPanel Panel(&hadc1,GPIOD,UR_Pin,UL_Pin,LR_Pin,LL_Pin,&adcSemaphoreHandle);
/* USER CODE END Variables */

void StartDefaultTask(void const * argument);
void touchPanelTaskFnc(void const * argument);

void MX_FREERTOS_Init(void); /* (MISRA C 2004 rule 8.1) */

/* Hook prototypes */
void vApplicationIdleHook(void);
void vApplicationTickHook(void);

/* USER CODE BEGIN 2 */
__weak void vApplicationIdleHook( void )
{
   /* vApplicationIdleHook() will only be called if configUSE_IDLE_HOOK is set
   to 1 in FreeRTOSConfig.h. It will be called on each iteration of the idle
   task. It is essential that code added to this hook function never attempts
   to block in any way (for example, call xQueueReceive() with a block time
   specified, or call vTaskDelay()). If the application makes use of the
   vTaskDelete() API function (as this demo application does) then it is also
   important that vApplicationIdleHook() is permitted to return to its calling
   function, because it is the responsibility of the idle task to clean up
   memory allocated by the kernel to any task that has since been deleted. */
}
/* USER CODE END 2 */

/* USER CODE BEGIN 3 */
__weak void vApplicationTickHook( void )
{
   /* This function will be called by each tick interrupt if
   configUSE_TICK_HOOK is set to 1 in FreeRTOSConfig.h. User code can be
   added here, but the tick hook is called from an interrupt context, so
   code must not attempt to block, and only the interrupt safe FreeRTOS API
   functions can be used (those that end in FromISR()). */
}
/* USER CODE END 3 */

/* Init FreeRTOS */

void MX_FREERTOS_Init(void) {

  /* Create the semaphores(s) */
  /* definition and creation of adcSemaphore */
  osSemaphoreDef(adcSemaphore);
  adcSemaphoreHandle = osSemaphoreCreate(osSemaphore(adcSemaphore), 1);

  /* Create the thread(s) */
  /* definition and creation of defaultTask */
  osThreadDef(defaultTask, StartDefaultTask, osPriorityNormal, 0, 128);
  defaultTaskHandle = osThreadCreate(osThread(defaultTask), NULL);

  /* definition and creation of touchPanelTask */
  osThreadDef(touchPanelTask, touchPanelTaskFnc, osPriorityAboveNormal, 0, 128);
  touchPanelTaskHandle = osThreadCreate(osThread(touchPanelTask), NULL);

}

/* StartDefaultTask function */
void StartDefaultTask(void const * argument)
{

  /* USER CODE BEGIN StartDefaultTask */
  /* Infinite loop */
  for(;;)
  {

	  a = 23;
	  for(uint16_t i=1;i<50000;i++){
		  a = i+0.324;
		  a++;
	  }
	  if(Panel.IsTouched()){
		  X = Panel.GetX();
		  Y = Panel.GetY();
	  }
	  cpu = osGetCPUUsage();
//    osDelay(15);
  }
  /* USER CODE END StartDefaultTask */
}

/* touchPanelTaskFnc function */
void touchPanelTaskFnc(void const * argument)
{
  /* USER CODE BEGIN touchPanelTaskFnc */
	osSemaphoreWait(adcSemaphoreHandle,osWaitForever);
	/* Infinite loop */
  for(;;)
  {
	  	Panel.Process();
		//osDelay(1);
  }
  /* USER CODE END touchPanelTaskFnc */
}

/* USER CODE BEGIN Application */
void HAL_ADC_ConvCpltCallback (ADC_HandleTypeDef * hadc){

	if(hadc->Instance == Panel.GetADCInstance()){
		osSemaphoreRelease(adcSemaphoreHandle);
		adc = HAL_ADC_GetValue(hadc);
	}
	Panel.ADC_ConvCpltCallback(hadc);
}
/* USER CODE END Application */

/************************ (C) COPYRIGHT STMicroelectronics *****END OF FILE****/
